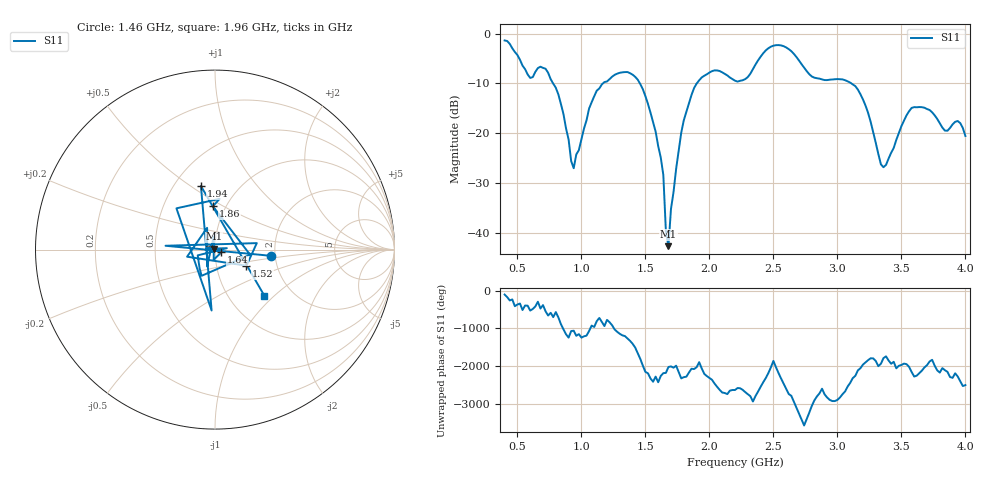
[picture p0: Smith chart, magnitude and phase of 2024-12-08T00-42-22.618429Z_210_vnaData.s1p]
!Created with skrf (http://scikit-rf.org).
# Hz S RI R 50.0
!freq ReS11 ImS11
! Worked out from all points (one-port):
!   181 points, 400 MHz to 4 GHz, reference 50 ohm
!   lowest |S11| = -42.7 dB at 1.68 GHz (marker M1), VSWR 1.01, Z = 49.4 + j0.47 ohm
!   |S11| at or under -10 dB: 778.9 MHz to 1.168 GHz (389.3 MHz wide, 40 % of centre); 1.457 GHz to 1.901 GHz (444.1 MHz wide, 26.4 % of centre); 3.109 GHz to end of sweep
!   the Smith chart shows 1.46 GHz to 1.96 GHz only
!   S11 on the Smith chart (normalised r, x): 1.46 GHz: 1.89, -0.14; 1.52 GHz: 1.40, -0.26; 1.64 GHz: 1.07, -0.03; 1.86 GHz: 0.87, +0.45; 1.94 GHz: 0.67, +0.55; 1.96 GHz: 1.45, -0.87
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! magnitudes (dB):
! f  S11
! 400 MHz  -1.4
! 600 MHz  -8.9
! 720 MHz  -7.1
! 860 MHz  -16.2
! 940 MHz  -27.0
! 1.12 GHz  -11.5
! 1.3 GHz  -7.9
! 1.46 GHz  -10.1
! 1.52 GHz  -14.1
! 1.64 GHz  -28.4
! 1.66 GHz  -39.7
! 1.68 GHz  -42.7
! 1.7 GHz  -35.2
! 1.76 GHz  -23.6
! 1.86 GHz  -12.3
! 1.94 GHz  -8.8
! 1.96 GHz  -8.5
! 2.2 GHz  -9.5
! 2.48 GHz  -2.6
! 2.66 GHz  -4.1
! 2.8 GHz  -8.6
! 3.1 GHz  -9.8
! 3.22 GHz  -14.5
! 3.36 GHz  -26.8
! 3.56 GHz  -15.6
! 3.84 GHz  -19.5
! 3.94 GHz  -17.5
! 4 GHz  -20.6
